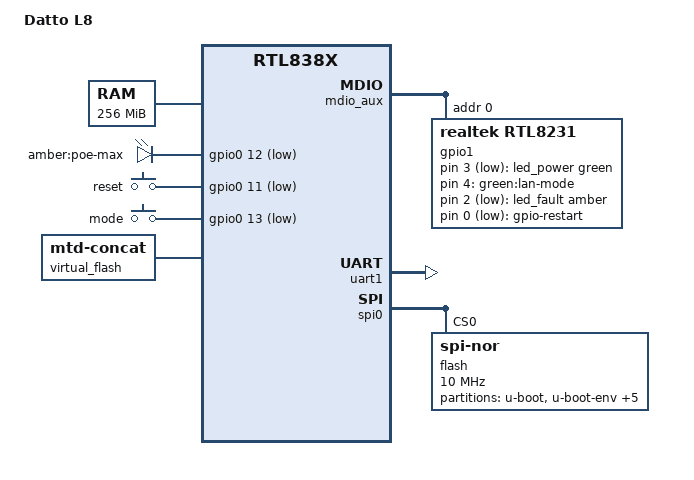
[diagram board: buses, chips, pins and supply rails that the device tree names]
// SPDX-License-Identifier: GPL-2.0-or-later OR MIT

#include <dt-bindings/gpio/gpio.h>
#include <dt-bindings/input/input.h>
#include <dt-bindings/leds/common.h>

#include "rtl838x.dtsi"

/ {
	compatible = "datto,l8", "realtek,rtl838x-soc";

	model = "Datto L8";

	aliases {
		label-mac-device = &ethernet0;
		led-boot = &led_power;
		led-failsafe = &led_fault;
		led-running = &led_power;
		led-upgrade = &led_power;
	};

	memory@0 {
		device_type = "memory";
		reg = <0x0 0x10000000>;
	};

	leds: leds {
		pinctrl-names = "default";
		pinctrl-0 = <&pinmux_disable_sys_led>;
		compatible = "gpio-leds";

		led_power: led-0 {
			function = LED_FUNCTION_POWER;
			color = <LED_COLOR_ID_GREEN>;
			gpios = <&gpio1 3 GPIO_ACTIVE_LOW>;
		};

		/* high: LAN Mode, low: PoE Mode */
		led_lan_mode: led-1 {
			label = "green:lan-mode";
			gpios = <&gpio1 4 GPIO_ACTIVE_HIGH>;
		};

		led_fault: led-2 {
			function = LED_FUNCTION_FAULT;
			color = <LED_COLOR_ID_AMBER>;
			gpios = <&gpio1 2 GPIO_ACTIVE_LOW>;
		};

		led_poe_max: led-3 {
			label = "amber:poe-max";
			gpios = <&gpio0 12 GPIO_ACTIVE_LOW>;
		};
	};

	keys {
		compatible = "gpio-keys";

		reset {
			label = "reset";
			gpios = <&gpio0 11 GPIO_ACTIVE_LOW>;
			linux,code = <KEY_RESTART>;
		};

		mode {
			label = "mode";
			gpios = <&gpio0 13 GPIO_ACTIVE_LOW>;
			linux,code = <KEY_LIGHTS_TOGGLE>;
		};
	};

	gpio-restart {
		compatible = "gpio-restart";
		gpios = <&gpio1 0 GPIO_ACTIVE_LOW>;
		open-source;
	};

	virtual_flash {
		compatible = "mtd-concat";

		devices = <&fwconcat0>, <&fwconcat1>;

		partitions {
			compatible = "fixed-partitions";
			#address-cells = <1>;
			#size-cells = <1>;

			partition@0 {
				label = "firmware";
				reg = <0x0 0x1a60000>;
				compatible = "openwrt,uimage", "denx,uimage";
				openwrt,ih-magic = <0x00703400>;
			};
		};
	};
};

&mdio_aux {
	status = "okay";

	gpio1: expander@0 {
		compatible = "realtek,rtl8231";
		reg = <0>;

		gpio-controller;
		#gpio-cells = <2>;
		gpio-ranges = <&gpio1 0 0 37>;

		led-controller {
			compatible = "realtek,rtl8231-leds";
			status = "disabled";
		};
	};
};

&uart1 {
	status = "okay";
};

&mdio_bus0 {
	PHY_C22(8, 8)
	PHY_C22(9, 9)
	PHY_C22(10, 10)
	PHY_C22(11, 11)
	PHY_C22(12, 12)
	PHY_C22(13, 13)
	PHY_C22(14, 14)
	PHY_C22(15, 15)
};

&switch0 {
	ethernet-ports {
		#address-cells = <1>;
		#size-cells = <0>;

		SWITCH_PORT(8, 1, internal)
		SWITCH_PORT(9, 2, internal)
		SWITCH_PORT(10, 3, internal)
		SWITCH_PORT(11, 4, internal)
		SWITCH_PORT(12, 5, internal)
		SWITCH_PORT(13, 6, internal)
		SWITCH_PORT(14, 7, internal)
		SWITCH_PORT(15, 8, internal)

		port@28 {
			ethernet = <&ethernet0>;
			reg = <28>;
			phy-mode = "internal";
			fixed-link {
				speed = <1000>;
				full-duplex;
			};
		};
	};
};

&ethernet0 {
	nvmem-cells = <&macaddr_ubootenv_ethaddr 0>;
	nvmem-cell-names = "mac-address";
};

&spi0 {
	status = "okay";
	flash@0 {
		compatible = "jedec,spi-nor";
		reg = <0>;
		spi-max-frequency = <10000000>;

		partitions {
			compatible = "fixed-partitions";
			#address-cells = <1>;
			#size-cells = <1>;

			partition@0 {
				label = "u-boot";
				reg = <0x0 0x80000>;
				read-only;
			};
			partition@80000 {
				label = "u-boot-env";
				reg = <0x80000 0x10000>;
				nvmem-layout {
					compatible = "u-boot,env";

					macaddr_ubootenv_ethaddr: ethaddr {
						#nvmem-cell-cells = <1>;
					};
				};
			};
			partition@90000 {
				label = "u-boot-env2";
				reg = <0x90000 0x20000>;
			};
			partition@a0000 {
				label = "cfg";
				reg = <0xa0000 0x400000>;
			};
			partition@4a0000 {
				label = "log";
				reg = <0x4a0000 0x100000>;
			};
			fwconcat0: partition@5a0000 {
				label = "runtime";
				reg = <0x5a0000 0xd30000>;
			};
			fwconcat1: partition@12d0000 {
				label = "runtime2";
				reg = <0x12d0000 0xd30000>;
			};
		};
	};
};
